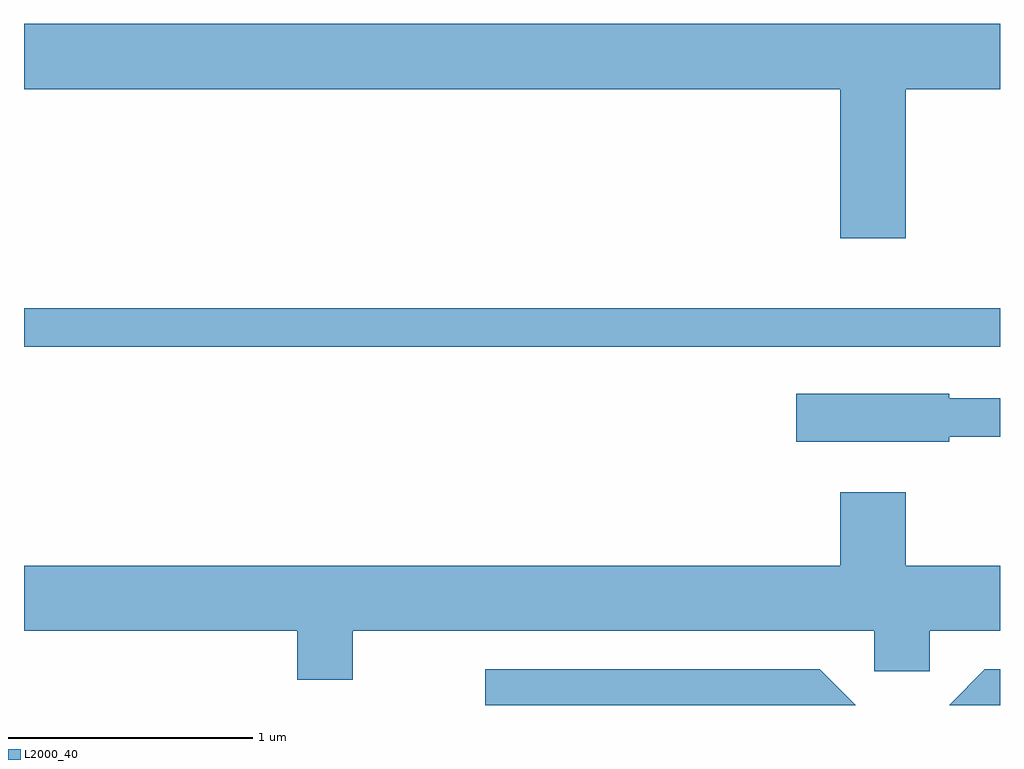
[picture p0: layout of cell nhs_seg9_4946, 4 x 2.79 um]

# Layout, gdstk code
import gdstk
lib = gdstk.Library(unit=1e-6, precision=1e-09)
def R(c, l, rs):  # rectangles x0, y0, x1, y1
    for r in rs: c.add(gdstk.rectangle(r[:2], r[2:], *l))
def P(c, l, *ps):  # polygons
    for p in ps: c.add(gdstk.Polygon(p, *l))
L2000_40 = (2000, 40)

nhs_seg9_4946 = lib.new_cell('nhs_seg9_4946')
R(nhs_seg9_4946, L2000_40, [(331.611,1961.901,335.611,1962.059)])
P(nhs_seg9_4946, L2000_40, [(335.224,1962.956),(335.611,1962.956),(335.611,1963.224),(331.611,1963.224),(331.611,1962.956),(334.956,1962.956),(334.956,1962.346),(335.224,1962.346)],
  [(335.404,1961.531),(335.611,1961.531),(335.611,1961.689),(335.404,1961.689),(335.404,1961.709),(334.776,1961.709),(334.776,1961.511),(335.404,1961.511)],
  [(332.959,1960.736),(335.096,1960.736),(335.096,1960.571),(335.324,1960.571),(335.324,1960.736),(335.611,1960.736),(335.611,1961.004),(335.224,1961.004),(335.224,1961.304),(334.956,1961.304),(334.956,1961.004),(331.611,1961.004),(331.611,1960.736),(332.731,1960.736),(332.731,1960.536),(332.959,1960.536)],
  [(335.611,1960.579),(335.549,1960.579),(335.402,1960.432),(335.611,1960.432)],
  [(334.872,1960.579),(333.501,1960.579),(333.501,1960.432),(335.019,1960.432)])

lib.write_gds('nhs_seg9_4946.gds')
